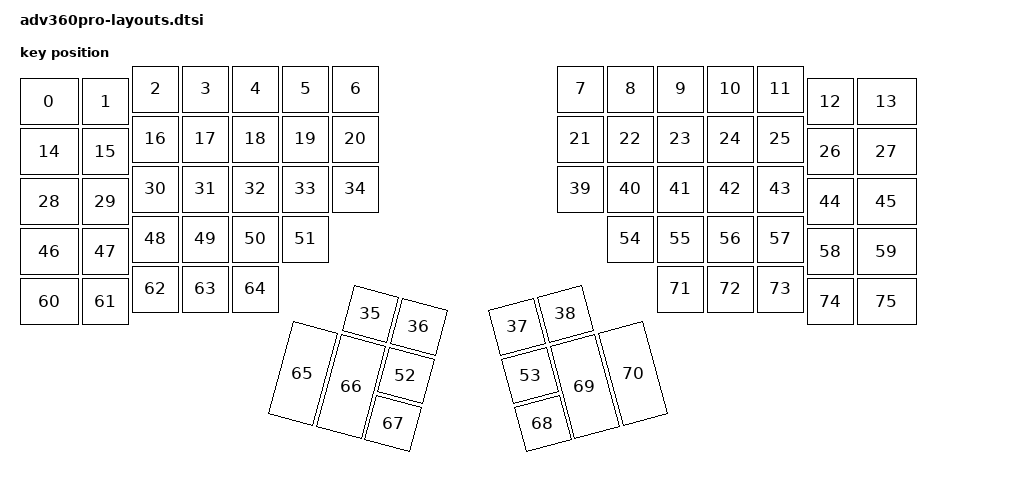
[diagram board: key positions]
#include <physical_layouts.dtsi>

/ {
    physical_layout0: physical_layout_0 {
        compatible = "zmk,physical-layout";
        display-name = "Default";

        keys  //                     w   h    x    y     rot    rx    ry
            = <&key_physical_attrs 125 100    0   25       0     0     0>
            , <&key_physical_attrs 100 100  125   25       0     0     0>
            , <&key_physical_attrs 100 100  225    0       0     0     0>
            , <&key_physical_attrs 100 100  325    0       0     0     0>
            , <&key_physical_attrs 100 100  425    0       0     0     0>
            , <&key_physical_attrs 100 100  525    0       0     0     0>
            , <&key_physical_attrs 100 100  625    0       0     0     0>
            , <&key_physical_attrs 100 100 1075    0       0     0     0>
            , <&key_physical_attrs 100 100 1175    0       0     0     0>
            , <&key_physical_attrs 100 100 1275    0       0     0     0>
            , <&key_physical_attrs 100 100 1375    0       0     0     0>
            , <&key_physical_attrs 100 100 1475    0       0     0     0>
            , <&key_physical_attrs 100 100 1575   25       0     0     0>
            , <&key_physical_attrs 125 100 1675   25       0     0     0>
            , <&key_physical_attrs 125 100    0  125       0     0     0>
            , <&key_physical_attrs 100 100  125  125       0     0     0>
            , <&key_physical_attrs 100 100  225  100       0     0     0>
            , <&key_physical_attrs 100 100  325  100       0     0     0>
            , <&key_physical_attrs 100 100  425  100       0     0     0>
            , <&key_physical_attrs 100 100  525  100       0     0     0>
            , <&key_physical_attrs 100 100  625  100       0     0     0>
            , <&key_physical_attrs 100 100 1075  100       0     0     0>
            , <&key_physical_attrs 100 100 1175  100       0     0     0>
            , <&key_physical_attrs 100 100 1275  100       0     0     0>
            , <&key_physical_attrs 100 100 1375  100       0     0     0>
            , <&key_physical_attrs 100 100 1475  100       0     0     0>
            , <&key_physical_attrs 100 100 1575  125       0     0     0>
            , <&key_physical_attrs 125 100 1675  125       0     0     0>
            , <&key_physical_attrs 125 100    0  225       0     0     0>
            , <&key_physical_attrs 100 100  125  225       0     0     0>
            , <&key_physical_attrs 100 100  225  200       0     0     0>
            , <&key_physical_attrs 100 100  325  200       0     0     0>
            , <&key_physical_attrs 100 100  425  200       0     0     0>
            , <&key_physical_attrs 100 100  525  200       0     0     0>
            , <&key_physical_attrs 100 100  625  200       0     0     0>
            , <&key_physical_attrs 100 100  675  400    1500   525   400>
            , <&key_physical_attrs 100 100  775  400    1500   525   400>
            , <&key_physical_attrs 100 100  925  400 (-1500)  1275   400>
            , <&key_physical_attrs 100 100 1025  400 (-1500)  1275   400>
            , <&key_physical_attrs 100 100 1075  200       0     0     0>
            , <&key_physical_attrs 100 100 1175  200       0     0     0>
            , <&key_physical_attrs 100 100 1275  200       0     0     0>
            , <&key_physical_attrs 100 100 1375  200       0     0     0>
            , <&key_physical_attrs 100 100 1475  200       0     0     0>
            , <&key_physical_attrs 100 100 1575  225       0     0     0>
            , <&key_physical_attrs 125 100 1675  225       0     0     0>
            , <&key_physical_attrs 125 100    0  325       0     0     0>
            , <&key_physical_attrs 100 100  125  325       0     0     0>
            , <&key_physical_attrs 100 100  225  300       0     0     0>
            , <&key_physical_attrs 100 100  325  300       0     0     0>
            , <&key_physical_attrs 100 100  425  300       0     0     0>
            , <&key_physical_attrs 100 100  525  300       0     0     0>
            , <&key_physical_attrs 100 100  775  500    1500   525   400>
            , <&key_physical_attrs 100 100  925  500 (-1500)  1275   400>
            , <&key_physical_attrs 100 100 1175  300       0     0     0>
            , <&key_physical_attrs 100 100 1275  300       0     0     0>
            , <&key_physical_attrs 100 100 1375  300       0     0     0>
            , <&key_physical_attrs 100 100 1475  300       0     0     0>
            , <&key_physical_attrs 100 100 1575  325       0     0     0>
            , <&key_physical_attrs 125 100 1675  325       0     0     0>
            , <&key_physical_attrs 125 100    0  425       0     0     0>
            , <&key_physical_attrs 100 100  125  425       0     0     0>
            , <&key_physical_attrs 100 100  225  400       0     0     0>
            , <&key_physical_attrs 100 100  325  400       0     0     0>
            , <&key_physical_attrs 100 100  425  400       0     0     0>
            , <&key_physical_attrs 100 200  575  500    1500   525   400>
            , <&key_physical_attrs 100 200  675  500    1500   525   400>
            , <&key_physical_attrs 100 100  775  600    1500   525   400>
            , <&key_physical_attrs 100 100  925  600 (-1500)  1275   400>
            , <&key_physical_attrs 100 200 1025  500 (-1500)  1275   400>
            , <&key_physical_attrs 100 200 1125  500 (-1500)  1275   400>
            , <&key_physical_attrs 100 100 1275  400       0     0     0>
            , <&key_physical_attrs 100 100 1375  400       0     0     0>
            , <&key_physical_attrs 100 100 1475  400       0     0     0>
            , <&key_physical_attrs 100 100 1575  425       0     0     0>
            , <&key_physical_attrs 125 100 1675  425       0     0     0>
            ;
    };
};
